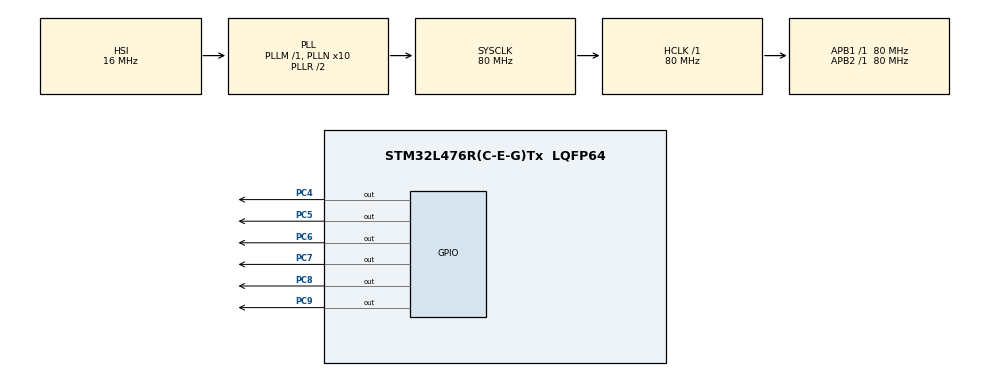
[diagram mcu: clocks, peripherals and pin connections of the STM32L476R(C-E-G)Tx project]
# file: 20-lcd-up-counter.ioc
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Mcu.Family=STM32L4
Mcu.Name=STM32L476R(C-E-G)Tx
Mcu.Package=LQFP64
NVIC.PriorityGroup=NVIC_PRIORITYGROUP_4
NVIC.TIM2_IRQn=true\:0\:0\:false\:false\:true\:true\:true\:true
PC4.Signal=GPIO_Output
PC5.Signal=GPIO_Output
PC6.Signal=GPIO_Output
PC7.Signal=GPIO_Output
PC8.Signal=GPIO_Output
PC9.Signal=GPIO_Output
ProjectManager.HeapSize=0x200
ProjectManager.StackSize=0x400
ProjectManager.TargetToolchain=STM32CubeIDE
RCC.ADCFreq_Value=64000000
RCC.AHBFreq_Value=80000000
RCC.APB1Freq_Value=80000000
RCC.APB1TimFreq_Value=80000000
RCC.APB2Freq_Value=80000000
RCC.APB2TimFreq_Value=80000000
RCC.CortexFreq_Value=80000000
RCC.HCLKFreq_Value=80000000
RCC.HSE_VALUE=8000000
RCC.HSI_VALUE=16000000
RCC.LSE_VALUE=32768
RCC.MSI_VALUE=4000000
RCC.PLLN=10
RCC.PLLSourceVirtual=RCC_PLLSOURCE_HSI
RCC.PREFETCH_ENABLE=1
RCC.SYSCLKFreq_VALUE=80000000
RCC.SYSCLKSource=RCC_SYSCLKSOURCE_PLLCLK
RCC.USBFreq_Value=64000000
RCC.VCOOutputFreq_Value=160000000
TIM2.AutoReloadPreload=TIM_AUTORELOAD_PRELOAD_ENABLE
TIM2.ClockDivision=TIM_CLOCKDIVISION_DIV2
TIM2.CounterMode=TIM_COUNTERMODE_DOWN
TIM2.Period=1999
TIM2.Prescaler=39999
VP_TIM2_VS_ClockSourceINT.Mode=Internal
board=NUCLEO-L476RG

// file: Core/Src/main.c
/* USER CODE BEGIN Header */
/**
  ******************************************************************************
  * @file           : main.c
  * @brief          : Main program body
  ******************************************************************************
  * @attention
  *
  * Copyright (c) 2025 STMicroelectronics.
  * All rights reserved.
  *
  * This software is licensed under terms that can be found in the LICENSE file
  * in the root directory of this software component.
  * If no LICENSE file comes with this software, it is provided AS-IS.
  *
  ******************************************************************************
  */
/* USER CODE END Header */
#include "main.h"

/* USER CODE BEGIN Includes */
#include "lcd.h"
#include "stdlib.h"
/* USER CODE END Includes */

TIM_HandleTypeDef htim2;

void SystemClock_Config(void);
static void MX_GPIO_Init(void);
static void MX_TIM2_Init(void);

/* USER CODE BEGIN 0 */
uint8_t CounterNumber = 0;    //count number
char Text[2];
uint8_t DataFlag = 0;

void HAL_TIM_PeriodElapsedCallback(TIM_HandleTypeDef *htim){
  DataFlag = 1;
  int radix = 10;    //define for decimal
  itoa(CounterNumber, Text, radix);    //convert integer to string type, decimal base
  CounterNumber++;    //increase count number
  CounterNumber = CounterNumber > 9 ? 0 : CounterNumber;    //reset counter
}
/* USER CODE END 0 */

int main(void)
{

  /* MCU Configuration--------------------------------------------------------*/

  /* Reset of all peripherals, Initializes the Flash interface and the Systick. */
  HAL_Init();

  /* Configure the system clock */
  SystemClock_Config();

  /* Initialize all configured peripherals */
  MX_GPIO_Init();
  MX_TIM2_Init();
  /* USER CODE BEGIN 2 */
  LCD_initial();    //initialize lcd
  LCD_GoTo_Position(0, 0);    //go to lcd position
  LCD_Puts("Count:");    //display text on LCD

  HAL_TIM_Base_Start_IT(&htim2);    //start timer
  /* USER CODE END 2 */

  /* Infinite loop */
  /* USER CODE BEGIN WHILE */
  while (1)
  {
    if(DataFlag == 1) {
      DataFlag = 0;
      LCD_GoTo_Position(1, 0);    //go to lcd position
      LCD_Puts(Text);    //display text on LCD)
    }
    HAL_Delay(1);    //delay
    /* USER CODE END WHILE */

  }
}

void SystemClock_Config(void)
{
  RCC_OscInitTypeDef RCC_OscInitStruct = {0};
  RCC_ClkInitTypeDef RCC_ClkInitStruct = {0};

  /** Configure the main internal regulator output voltage
  */
  if (HAL_PWREx_ControlVoltageScaling(PWR_REGULATOR_VOLTAGE_SCALE1) != HAL_OK)
  {
    Error_Handler();
  }

  /** Initializes the RCC Oscillators according to the specified parameters
  * in the RCC_OscInitTypeDef structure.
  */
  RCC_OscInitStruct.OscillatorType = RCC_OSCILLATORTYPE_HSI;
  RCC_OscInitStruct.HSIState = RCC_HSI_ON;
  RCC_OscInitStruct.HSICalibrationValue = RCC_HSICALIBRATION_DEFAULT;
  RCC_OscInitStruct.PLL.PLLState = RCC_PLL_ON;
  RCC_OscInitStruct.PLL.PLLSource = RCC_PLLSOURCE_HSI;
  RCC_OscInitStruct.PLL.PLLM = 1;
  RCC_OscInitStruct.PLL.PLLN = 10;
  RCC_OscInitStruct.PLL.PLLP = RCC_PLLP_DIV7;
  RCC_OscInitStruct.PLL.PLLQ = RCC_PLLQ_DIV2;
  RCC_OscInitStruct.PLL.PLLR = RCC_PLLR_DIV2;
  if (HAL_RCC_OscConfig(&RCC_OscInitStruct) != HAL_OK)
  {
    Error_Handler();
  }

  /** Initializes the CPU, AHB and APB buses clocks
  */
  RCC_ClkInitStruct.ClockType = RCC_CLOCKTYPE_HCLK|RCC_CLOCKTYPE_SYSCLK
                              |RCC_CLOCKTYPE_PCLK1|RCC_CLOCKTYPE_PCLK2;
  RCC_ClkInitStruct.SYSCLKSource = RCC_SYSCLKSOURCE_PLLCLK;
  RCC_ClkInitStruct.AHBCLKDivider = RCC_SYSCLK_DIV1;
  RCC_ClkInitStruct.APB1CLKDivider = RCC_HCLK_DIV1;
  RCC_ClkInitStruct.APB2CLKDivider = RCC_HCLK_DIV1;

  if (HAL_RCC_ClockConfig(&RCC_ClkInitStruct, FLASH_LATENCY_4) != HAL_OK)
  {
    Error_Handler();
  }
}

static void MX_TIM2_Init(void)
{

  TIM_ClockConfigTypeDef sClockSourceConfig = {0};
  TIM_MasterConfigTypeDef sMasterConfig = {0};

  htim2.Instance = TIM2;
  htim2.Init.Prescaler = 39999;
  htim2.Init.CounterMode = TIM_COUNTERMODE_DOWN;
  htim2.Init.Period = 1999;
  htim2.Init.ClockDivision = TIM_CLOCKDIVISION_DIV2;
  htim2.Init.AutoReloadPreload = TIM_AUTORELOAD_PRELOAD_ENABLE;
  if (HAL_TIM_Base_Init(&htim2) != HAL_OK)
  {
    Error_Handler();
  }
  sClockSourceConfig.ClockSource = TIM_CLOCKSOURCE_INTERNAL;
  if (HAL_TIM_ConfigClockSource(&htim2, &sClockSourceConfig) != HAL_OK)
  {
    Error_Handler();
  }
  sMasterConfig.MasterOutputTrigger = TIM_TRGO_RESET;
  sMasterConfig.MasterSlaveMode = TIM_MASTERSLAVEMODE_DISABLE;
  if (HAL_TIMEx_MasterConfigSynchronization(&htim2, &sMasterConfig) != HAL_OK)
  {
    Error_Handler();
  }

}

static void MX_GPIO_Init(void)
{
  GPIO_InitTypeDef GPIO_InitStruct = {0};

  /* GPIO Ports Clock Enable */
  __HAL_RCC_GPIOC_CLK_ENABLE();

  /*Configure GPIO pin Output Level */
  HAL_GPIO_WritePin(GPIOC, GPIO_PIN_4|GPIO_PIN_5|GPIO_PIN_6|GPIO_PIN_7
                          |GPIO_PIN_8|GPIO_PIN_9, GPIO_PIN_RESET);

  /*Configure GPIO pins : PC4 PC5 PC6 PC7
                           PC8 PC9 */
  GPIO_InitStruct.Pin = GPIO_PIN_4|GPIO_PIN_5|GPIO_PIN_6|GPIO_PIN_7
                          |GPIO_PIN_8|GPIO_PIN_9;
  GPIO_InitStruct.Mode = GPIO_MODE_OUTPUT_PP;
  GPIO_InitStruct.Pull = GPIO_NOPULL;
  GPIO_InitStruct.Speed = GPIO_SPEED_FREQ_LOW;
  HAL_GPIO_Init(GPIOC, &GPIO_InitStruct);

}

void Error_Handler(void)
{
  __disable_irq();
  while (1)
  {
  }
}
